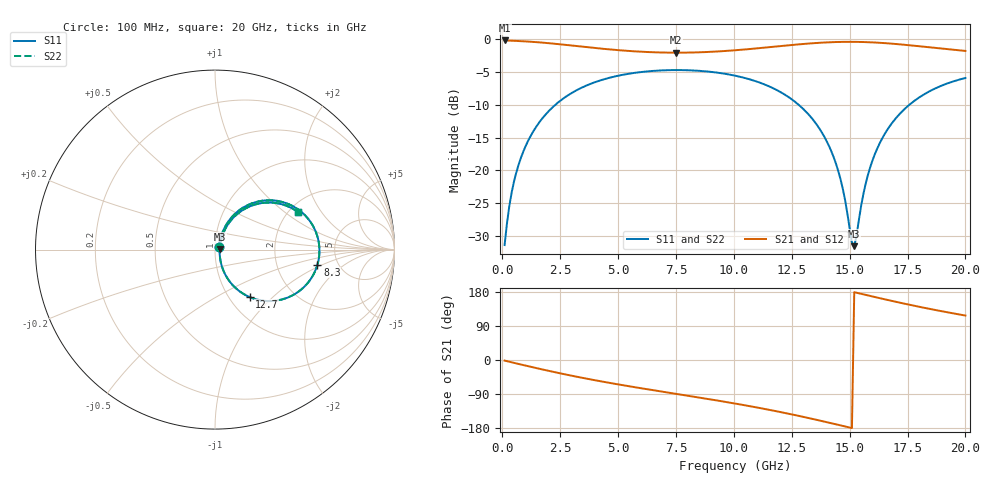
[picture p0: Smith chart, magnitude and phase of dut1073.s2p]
! Touchstone file exported from HFSS 2026.1.0
!  File:  C:/ffzhzh/LocalFiles/Ansys_Project_Files/temp_train_TSV_RDL_1073_1783299602_5512.aedt
!  Generated:  09:10:59 AM Jul  6, 2026
!  Design:  TSV_RDL
!  Project:  temp_train_TSV_RDL_1073_1783299602_5512
! Variables:
!  h_bsmrdl = 3.32um
!  h_ox = 20um
!  h_rdl = 5um
!  h_sub = 61.32um
!  h_tmrdl = 2.98um
!  h_tsv = 61.32um
!  h_via = 3um
!  l_bsmrdl = 628.05um
!  l_sub = 4171.57um
!  l_tmrdl = 440.58um
!  m_sub = 200um
!  pitch = 51.24um
!  r_tsv = 9.12um
!  s_tmrdl = 10um
!  w_bsmrdl = 16.72um
!  w_sub = 500um
!  w_tmrdl = 24.98um
!  x_tsv_center1 = 453.07um
!  x_tsv_center2 = 1097.84um
!  x_tsv_center3 = 1563.4um
!  x_tsv_center4 = 2208.17um
!  x_tsv_center5 = 2673.73um
!  x_tsv_center6 = 3318.5um
# GHz S MA R 50.000000
! Terminal data exported
! Port[1] = TM_RDL1_1_T1
! Port[2] = TM_RDL5_1_T1
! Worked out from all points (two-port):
!   200 points, 100 MHz to 20 GHz, reference 50 ohm
!   highest |S21| = -0.19 dB at 100 MHz (marker M1); lowest = -2.1 dB at 7.5 GHz (marker M2)
!   |S21| within 3 dB of the highest: start of sweep to end of sweep
!   lowest |S11| = -31.6 dB at 15.2 GHz (marker M3), VSWR 1.05, Z = 52.7 + j0.282 ohm
!   |S11| at or under -10 dB: start of sweep to 2.291 GHz; 12.8 GHz to 17.58 GHz (4.778 GHz wide, 31.5 % of centre)
!   |S22| runs from -31.5 to -4.7 dB; largest |S21 - S12| = 1.7e-14
!   S11 on the Smith chart (normalised r, x): 100 MHz: 1.04, +0.03; 8.3 GHz: 3.49, -0.87; 12.7 GHz: 1.24, -0.73; 20 GHz: 2.21, +1.26
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0.1  0.02695 35.8  0.9784 -1.5  0.9784 -1.5  0.02695 35.8
! Gamma 0 0 0 0
! Port Impedance 50 0 50 0
0.3  0.05302 59.9  0.976 -4.6  0.976 -4.6  0.05302 59.9
0.5  0.08147 65.2  0.9726 -7.5  0.9726 -7.5  0.08147 65.2
1.1  0.1659 65.0  0.9602 -16.1  0.9602 -16.1  0.1659 65.0
2.1  0.2943 55.0  0.9296 -29.9  0.9296 -29.9  0.2943 55.0
3.5  0.4329 39.1  0.8759 -47.6  0.8759 -47.6  0.4329 39.1
5.2  0.5354 21.2  0.8201 -66.4  0.8201 -66.4  0.5354 21.2
6.8  0.5775 5.8  0.7926 -82.5  0.7926 -82.5  0.5775 5.8
7.5  0.582 -0.8  0.7895 -89.3  0.7895 -89.3  0.582 -0.8
8.3  0.5771 -8.3  0.7927 -97.1  0.7927 -97.1  0.5771 -8.3
10.1  0.5252 -25.8  0.8248 -115.4  0.8248 -115.4  0.5252 -25.8
12.7  0.3272 -53.9  0.9104 -146.1  0.9104 -146.1  0.3272 -53.9
13.4  0.2459 -61.6  0.9317 -155.5  0.9317 -155.5  0.2459 -61.5
14.4  0.1139 -68.1  0.9517 -169.5  0.9517 -169.5  0.114 -68.0
14.8  0.05989 -61.1  0.9548 -175.3  0.9548 -175.3  0.05994 -61.0
15.1  0.02821 -23.3  0.9552 -179.6  0.9552 -179.6  0.02831 -23.2
15.2  0.02644 5.8  0.9549 178.9  0.9549 178.9  0.02654 5.8
15.8  0.09359 62.7  0.9491 170.3  0.9491 170.3  0.09361 62.7
16.2  0.1477 63.2  0.9416 164.6  0.9416 164.6  0.1477 63.2
16.7  0.2131 59.6  0.9288 157.6  0.9288 157.6  0.2131 59.5
18.1  0.3691 44.7  0.8804 139.2  0.8804 139.2  0.3691 44.7
20  0.5064 24.6  0.8146 117.3  0.8146 117.3  0.5063 24.6
